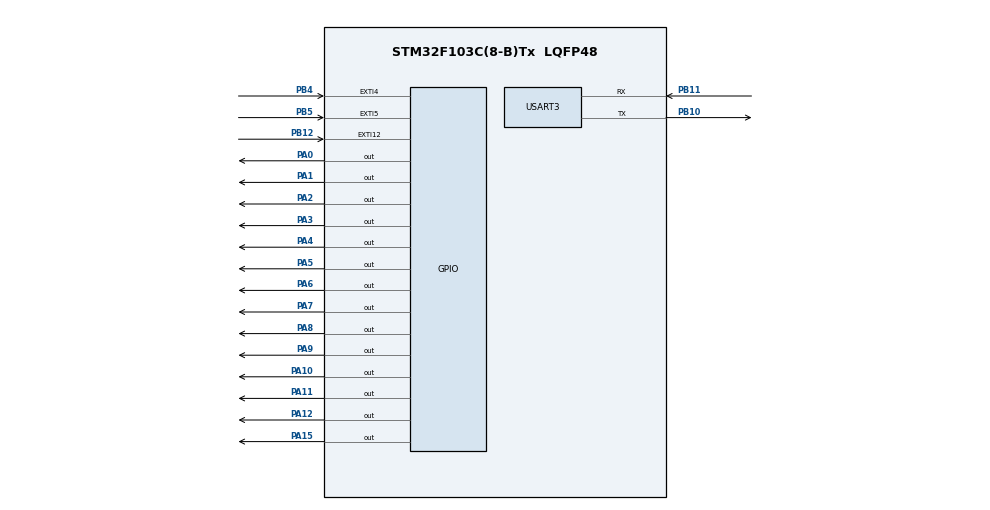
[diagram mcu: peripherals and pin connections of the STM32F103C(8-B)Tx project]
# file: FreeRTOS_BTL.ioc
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Mcu.Family=STM32F1
Mcu.Name=STM32F103C(8-B)Tx
Mcu.Package=LQFP48
NVIC.EXTI15_10_IRQn=true\:5\:0\:true\:false\:true\:true\:true\:true
NVIC.EXTI4_IRQn=true\:5\:0\:true\:false\:true\:true\:true\:true
NVIC.EXTI9_5_IRQn=true\:5\:0\:true\:false\:true\:true\:true\:true
NVIC.PriorityGroup=NVIC_PRIORITYGROUP_4
NVIC.USART3_IRQn=true\:0\:0\:false\:false\:true\:true\:true\:true
PA0-WKUP.Signal=GPIO_Output
PA1.Signal=GPIO_Output
PA10.Signal=GPIO_Output
PA11.Signal=GPIO_Output
PA12.Signal=GPIO_Output
PA13.Mode=Serial_Wire
PA13.Signal=SYS_JTMS-SWDIO
PA14.Mode=Serial_Wire
PA14.Signal=SYS_JTCK-SWCLK
PA15.Signal=GPIO_Output
PA2.Signal=GPIO_Output
PA3.Signal=GPIO_Output
PA4.Signal=GPIO_Output
PA5.Signal=GPIO_Output
PA6.Signal=GPIO_Output
PA7.Signal=GPIO_Output
PA8.Signal=GPIO_Output
PA9.Signal=GPIO_Output
PB10.Mode=Asynchronous
PB10.Signal=USART3_TX
PB11.Mode=Asynchronous
PB11.Signal=USART3_RX
PB12.GPIO_ModeDefaultEXTI=GPIO_MODE_IT_FALLING
PB12.GPIO_PuPd=GPIO_PULLUP
PB12.Signal=GPXTI12
PB4.GPIO_ModeDefaultEXTI=GPIO_MODE_IT_FALLING
PB4.GPIO_PuPd=GPIO_PULLUP
PB4.Signal=GPXTI4
PB5.GPIO_ModeDefaultEXTI=GPIO_MODE_IT_FALLING
PB5.GPIO_PuPd=GPIO_PULLUP
PB5.Signal=GPXTI5
PD0-OSC_IN.Mode=HSE-External-Oscillator
PD0-OSC_IN.Signal=RCC_OSC_IN
PD1-OSC_OUT.Mode=HSE-External-Oscillator
PD1-OSC_OUT.Signal=RCC_OSC_OUT
ProjectManager.HeapSize=0x200
ProjectManager.StackSize=0x400
ProjectManager.TargetToolchain=STM32CubeIDE
RCC.APB1Freq_Value=8000000
RCC.APB2Freq_Value=8000000
USART3.VirtualMode=VM_ASYNC
board=custom

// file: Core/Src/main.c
/* USER CODE BEGIN Header */
/**
  ******************************************************************************
  * @file           : main.c
  * @brief          : Main program body
  ******************************************************************************
  * @attention
  *
  * Copyright (c) 2023 STMicroelectronics.
  * All rights reserved.
  *
  * This software is licensed under terms that can be found in the LICENSE file
  * in the root directory of this software component.
  * If no LICENSE file comes with this software, it is provided AS-IS.
  *
  ******************************************************************************
  */
/* USER CODE END Header */
#include "main.h"

/* USER CODE BEGIN PV */
TaskHandle_t   status_task_Handle;
xQueueHandle	button_event_queue;
xSemaphoreHandle mutex_isr;

/* USER CODE END PV */

void SystemClock_Config(void);
static void MX_GPIO_Init(void);
static void MX_USART3_UART_Init(void);
/* USER CODE BEGIN PFP */
static void LED_Task( void *pvParameters );
static void UART_Task( void *pvParameters );

volatile uint32_t debouncing = 0;
TickType_t startTime;

int time;
int t1,t2;
extern void shiftOut(int data) {
	for (uint8_t i = 0; i < 8; i++) {
//		LL_GPIO_WriteOutputPort(GPIOA,GPIO_PIN_6, data << (i & 0x80));
		if ((data << i) & 0x80) {
		    LL_GPIO_SetOutputPin(GPIOA, LL_GPIO_PIN_6); // Nếu bit là 1, set GPIO_PIN_6 lên mức cao
		} else {
		    LL_GPIO_ResetOutputPin(GPIOA, LL_GPIO_PIN_6); // Nếu bit là 0, reset GPIO_PIN_6 xuống mức thấp
		}
		LL_GPIO_SetOutputPin(GPIOA, LL_GPIO_PIN_7); // Set pin high
		LL_GPIO_ResetOutputPin(GPIOA, LL_GPIO_PIN_7); // Set pin low
	}
}

extern void hienthi(int so1, int so2) {
	unsigned char ma7doan[] = {
			// 0 1 2 3 4 5 6 7 8 9 A b C d E F-
			0xC0,0xF9,0xA4,0xB0,0x99,0x92,0x82,0xF8,0x80,0x90,0x8C,0xBF,0xC6,0xA1,0x86,0xFF,0xbf
	};

	shiftOut(ma7doan[so2 % 10]);
	shiftOut(ma7doan[so2 / 10]);
	shiftOut(ma7doan[so1 % 10]);
	shiftOut(ma7doan[so1 / 10]);
	LL_GPIO_SetOutputPin(GPIOA, LL_GPIO_PIN_8); // Set pin high
	LL_GPIO_ResetOutputPin(GPIOA, LL_GPIO_PIN_8); // Set pin low
}

/* USER CODE END PFP */

/* USER CODE BEGIN 0 */

//unsigned char data='0';

/* USER CODE END 0 */

int main(void)
{

  /* MCU Configuration--------------------------------------------------------*/

  /* Reset of all peripherals, Initializes the Flash interface and the Systick. */
  LL_APB2_GRP1_EnableClock(LL_APB2_GRP1_PERIPH_AFIO);
  LL_APB1_GRP1_EnableClock(LL_APB1_GRP1_PERIPH_PWR);

  /* System interrupt init*/
  NVIC_SetPriorityGrouping(NVIC_PRIORITYGROUP_4);

  /* SysTick_IRQn interrupt configuration */
  NVIC_SetPriority(SysTick_IRQn, NVIC_EncodePriority(NVIC_GetPriorityGrouping(),15, 0));

  /** NOJTAG: JTAG-DP Disabled and SW-DP Enabled
  */
  LL_GPIO_AF_Remap_SWJ_NOJTAG();

  /* Configure the system clock */
  SystemClock_Config();

  /* USER CODE BEGIN SysInit */
  SysTick_Config(SystemCoreClock / 1000);
//  LL_SYSTICK_EnableIT();
//  __enable_irq();
  /* USER CODE END SysInit */

  /* Initialize all configured peripherals */
  MX_GPIO_Init();
  MX_USART3_UART_Init();
  /* USER CODE BEGIN 2 */

  UARTStdioConfig(USART3,true);
  button_event_queue =  xQueueCreate(10, sizeof(button_event_t));
  mutex_isr = xSemaphoreCreateMutex();

  xTaskCreate(LED_Task, "LED_Task",configMINIMAL_STACK_SIZE, NULL, 1, &status_task_Handle);
  xTaskCreate(UART_Task, "UART_Task",configMINIMAL_STACK_SIZE, NULL, 1, &status_task_Handle);

  /* USER CODE END 2 */

  /* Infinite loop */
  /* USER CODE BEGIN WHILE */

  vTaskStartScheduler();
  while (1)
  {
    /* USER CODE END WHILE */

  }
}

void SystemClock_Config(void)
{
  LL_FLASH_SetLatency(LL_FLASH_LATENCY_0);
  while(LL_FLASH_GetLatency()!= LL_FLASH_LATENCY_0)
  {
  }
  LL_RCC_HSI_SetCalibTrimming(16);
  LL_RCC_HSI_Enable();

   /* Wait till HSI is ready */
  while(LL_RCC_HSI_IsReady() != 1)
  {

  }
  LL_RCC_SetAHBPrescaler(LL_RCC_SYSCLK_DIV_1);
  LL_RCC_SetAPB1Prescaler(LL_RCC_APB1_DIV_1);
  LL_RCC_SetAPB2Prescaler(LL_RCC_APB2_DIV_1);
  LL_RCC_SetSysClkSource(LL_RCC_SYS_CLKSOURCE_HSI);

   /* Wait till System clock is ready */
  while(LL_RCC_GetSysClkSource() != LL_RCC_SYS_CLKSOURCE_STATUS_HSI)
  {

  }
  LL_Init1msTick(8000000);
  LL_SetSystemCoreClock(8000000);
}

static void MX_USART3_UART_Init(void)
{

  LL_USART_InitTypeDef USART_InitStruct = {0};

  LL_GPIO_InitTypeDef GPIO_InitStruct = {0};

  /* Peripheral clock enable */
  LL_APB1_GRP1_EnableClock(LL_APB1_GRP1_PERIPH_USART3);

  LL_APB2_GRP1_EnableClock(LL_APB2_GRP1_PERIPH_GPIOB);
  /**USART3 GPIO Configuration
  PB10   ------> USART3_TX
  PB11   ------> USART3_RX
  */
  GPIO_InitStruct.Pin = LL_GPIO_PIN_10;
  GPIO_InitStruct.Mode = LL_GPIO_MODE_ALTERNATE;
  GPIO_InitStruct.Speed = LL_GPIO_SPEED_FREQ_HIGH;
  GPIO_InitStruct.OutputType = LL_GPIO_OUTPUT_PUSHPULL;
  LL_GPIO_Init(GPIOB, &GPIO_InitStruct);

  GPIO_InitStruct.Pin = LL_GPIO_PIN_11;
  GPIO_InitStruct.Mode = LL_GPIO_MODE_FLOATING;
  LL_GPIO_Init(GPIOB, &GPIO_InitStruct);

  /* USART3 interrupt Init */
  NVIC_SetPriority(USART3_IRQn, NVIC_EncodePriority(NVIC_GetPriorityGrouping(),0, 0));
  NVIC_EnableIRQ(USART3_IRQn);

  USART_InitStruct.BaudRate = 115200;
  USART_InitStruct.DataWidth = LL_USART_DATAWIDTH_8B;
  USART_InitStruct.StopBits = LL_USART_STOPBITS_1;
  USART_InitStruct.Parity = LL_USART_PARITY_NONE;
  USART_InitStruct.TransferDirection = LL_USART_DIRECTION_TX_RX;
  USART_InitStruct.HardwareFlowControl = LL_USART_HWCONTROL_NONE;
  USART_InitStruct.OverSampling = LL_USART_OVERSAMPLING_16;
  LL_USART_Init(USART3, &USART_InitStruct);
  LL_USART_ConfigAsyncMode(USART3);
  LL_USART_Enable(USART3);

}

static void MX_GPIO_Init(void)
{
  LL_EXTI_InitTypeDef EXTI_InitStruct = {0};
  LL_GPIO_InitTypeDef GPIO_InitStruct = {0};

  /* GPIO Ports Clock Enable */
  LL_APB2_GRP1_EnableClock(LL_APB2_GRP1_PERIPH_GPIOD);
  LL_APB2_GRP1_EnableClock(LL_APB2_GRP1_PERIPH_GPIOA);
  LL_APB2_GRP1_EnableClock(LL_APB2_GRP1_PERIPH_GPIOB);

  /**/
  LL_GPIO_ResetOutputPin(GPIOA, LL_GPIO_PIN_0|LL_GPIO_PIN_1|LL_GPIO_PIN_2|LL_GPIO_PIN_3
                          |LL_GPIO_PIN_4|LL_GPIO_PIN_5|LL_GPIO_PIN_6|LL_GPIO_PIN_7
                          |LL_GPIO_PIN_8|LL_GPIO_PIN_9|LL_GPIO_PIN_10|LL_GPIO_PIN_11
                          |LL_GPIO_PIN_12|LL_GPIO_PIN_15);

  /**/
  GPIO_InitStruct.Pin = LL_GPIO_PIN_0|LL_GPIO_PIN_1|LL_GPIO_PIN_2|LL_GPIO_PIN_3
                          |LL_GPIO_PIN_4|LL_GPIO_PIN_5|LL_GPIO_PIN_6|LL_GPIO_PIN_7
                          |LL_GPIO_PIN_8|LL_GPIO_PIN_9|LL_GPIO_PIN_10|LL_GPIO_PIN_11
                          |LL_GPIO_PIN_12|LL_GPIO_PIN_15;
  GPIO_InitStruct.Mode = LL_GPIO_MODE_OUTPUT;
  GPIO_InitStruct.Speed = LL_GPIO_SPEED_FREQ_LOW;
  GPIO_InitStruct.OutputType = LL_GPIO_OUTPUT_PUSHPULL;
  LL_GPIO_Init(GPIOA, &GPIO_InitStruct);

  /**/
  LL_GPIO_AF_SetEXTISource(LL_GPIO_AF_EXTI_PORTB, LL_GPIO_AF_EXTI_LINE12);

  /**/
  LL_GPIO_AF_SetEXTISource(LL_GPIO_AF_EXTI_PORTB, LL_GPIO_AF_EXTI_LINE4);

  /**/
  LL_GPIO_AF_SetEXTISource(LL_GPIO_AF_EXTI_PORTB, LL_GPIO_AF_EXTI_LINE5);

  /**/
  EXTI_InitStruct.Line_0_31 = LL_EXTI_LINE_12;
  EXTI_InitStruct.LineCommand = ENABLE;
  EXTI_InitStruct.Mode = LL_EXTI_MODE_IT;
  EXTI_InitStruct.Trigger = LL_EXTI_TRIGGER_FALLING;
  LL_EXTI_Init(&EXTI_InitStruct);

  /**/
  EXTI_InitStruct.Line_0_31 = LL_EXTI_LINE_4;
  EXTI_InitStruct.LineCommand = ENABLE;
  EXTI_InitStruct.Mode = LL_EXTI_MODE_IT;
  EXTI_InitStruct.Trigger = LL_EXTI_TRIGGER_FALLING;
  LL_EXTI_Init(&EXTI_InitStruct);

  /**/
  EXTI_InitStruct.Line_0_31 = LL_EXTI_LINE_5;
  EXTI_InitStruct.LineCommand = ENABLE;
  EXTI_InitStruct.Mode = LL_EXTI_MODE_IT;
  EXTI_InitStruct.Trigger = LL_EXTI_TRIGGER_FALLING;
  LL_EXTI_Init(&EXTI_InitStruct);

  /**/
  LL_GPIO_SetPinPull(GPIOB, LL_GPIO_PIN_12, LL_GPIO_PULL_UP);

  /**/
  LL_GPIO_SetPinPull(GPIOB, LL_GPIO_PIN_4, LL_GPIO_PULL_UP);

  /**/
  LL_GPIO_SetPinPull(GPIOB, LL_GPIO_PIN_5, LL_GPIO_PULL_UP);

  /**/
  LL_GPIO_SetPinMode(GPIOB, LL_GPIO_PIN_12, LL_GPIO_MODE_INPUT);

  /**/
  LL_GPIO_SetPinMode(GPIOB, LL_GPIO_PIN_4, LL_GPIO_MODE_INPUT);

  /**/
  LL_GPIO_SetPinMode(GPIOB, LL_GPIO_PIN_5, LL_GPIO_MODE_INPUT);

  /* EXTI interrupt init*/
  NVIC_SetPriority(EXTI4_IRQn, NVIC_EncodePriority(NVIC_GetPriorityGrouping(),5, 0));
  NVIC_EnableIRQ(EXTI4_IRQn);
  NVIC_SetPriority(EXTI9_5_IRQn, NVIC_EncodePriority(NVIC_GetPriorityGrouping(),5, 0));
  NVIC_EnableIRQ(EXTI9_5_IRQn);
  NVIC_SetPriority(EXTI15_10_IRQn, NVIC_EncodePriority(NVIC_GetPriorityGrouping(),5, 0));
  NVIC_EnableIRQ(EXTI15_10_IRQn);

}

/* USER CODE BEGIN 4 */
static void LED_Task(void *pvParameters){
	while(1){
		startTime = xTaskGetTickCount();
		button_event_t button_event = {0, START,startTime};
		xQueueSend(button_event_queue,&button_event, portMAX_DELAY);

		if( time>=0 && time<20 ){
			LL_GPIO_SetOutputPin(GPIOA, LL_GPIO_PIN_0 | LL_GPIO_PIN_5);
			LL_GPIO_ResetOutputPin(GPIOA, LL_GPIO_PIN_1 | LL_GPIO_PIN_2 | LL_GPIO_PIN_3 | LL_GPIO_PIN_4);
		}
		if( time>=20 && time<23 ){
			LL_GPIO_SetOutputPin(GPIOA, LL_GPIO_PIN_1 | LL_GPIO_PIN_5);
			LL_GPIO_ResetOutputPin(GPIOA, LL_GPIO_PIN_0 | LL_GPIO_PIN_2 | LL_GPIO_PIN_3 | LL_GPIO_PIN_4);
		}
		if( time>=23 && time<43 ){
			LL_GPIO_SetOutputPin(GPIOA, LL_GPIO_PIN_2 | LL_GPIO_PIN_3);
			LL_GPIO_ResetOutputPin(GPIOA, LL_GPIO_PIN_0 | LL_GPIO_PIN_1 | LL_GPIO_PIN_4 | LL_GPIO_PIN_5);
		}
		if( time>=43 && time<46 ){
			LL_GPIO_SetOutputPin(GPIOA, LL_GPIO_PIN_2 | LL_GPIO_PIN_4);
			LL_GPIO_ResetOutputPin(GPIOA, LL_GPIO_PIN_0 | LL_GPIO_PIN_1 | LL_GPIO_PIN_3 | LL_GPIO_PIN_5);
		}
		if(time==0){
			t1=24;
			t2=21;
		}
		if(time==20){
			t1=4;
			t2=4;
		}
		if(time==23){
			t1=21;
			t2=24;
		}
		if(time==43){
			t1=4;
			t2=4;
		}
		time=time+1;
		t1=t1-1;
		t2=t2-1;
		if(time>=46) time=0;
		hienthi(t1,t2);
		vTaskDelay(1000);
	}

}
static void UART_Task(void *pvParameters){
	while(1){
		button_event_t button_event = {4, START};
		const char * button_event_name[] = {"START","END"};
		const char * event[] = {"NORMAL","Vertical priority","Night","Horizontal priority"};
		xQueueReceive(button_event_queue, &button_event, portMAX_DELAY);
		UARTprintf("Event: %s, State: %s, At: %u ticks \n",event[button_event.button_num], button_event_name[button_event.status], button_event.time);

		vTaskDelay(50);
	}

}
/* USER CODE END 4 */

void Error_Handler(void)
{
  __disable_irq();
  while (1)
  {
  }
}
